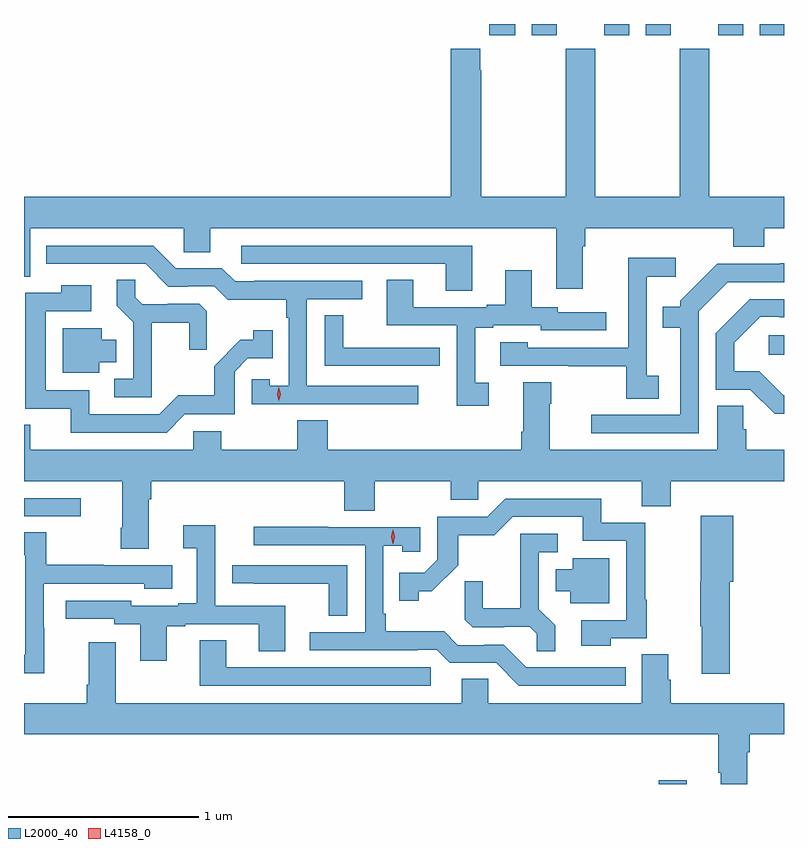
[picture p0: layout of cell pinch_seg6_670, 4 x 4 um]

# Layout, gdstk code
import gdstk
lib = gdstk.Library(unit=1e-6, precision=1e-09)
def R(c, l, rs):  # rectangles x0, y0, x1, y1
    for r in rs: c.add(gdstk.rectangle(r[:2], r[2:], *l))
def P(c, l, *ps):  # polygons
    for p in ps: c.add(gdstk.Polygon(p, *l))
L2000_40 = (2000, 40)
L4158_0 = (4158, 0)

pinch_seg6_670 = lib.new_cell('pinch_seg6_670')
R(pinch_seg6_670, L2000_40, [(492.795,929.758,492.943,929.779), (489.455,931.167,489.754,931.263), (493.374,932.018,493.455,932.121), (491.903,933.699,492.04,933.758), (492.128,933.699,492.259,933.758), (492.509,933.699,492.64,933.758), (492.728,933.699,492.859,933.758), (493.109,933.699,493.24,933.758), (493.328,933.699,493.455,933.758)])
P(pinch_seg6_670, L2000_40, [(492.397,932.588),(492.41,932.588),(492.41,932.684),(493.187,932.684),(493.187,932.585),(493.352,932.585),(493.352,932.684),(493.455,932.684),(493.455,932.848),(493.062,932.848),(493.062,933.628),(492.907,933.628),(492.907,932.848),(492.462,932.848),(492.462,933.628),(492.307,933.628),(492.307,932.848),(491.862,932.848),(491.862,933.515),(491.857,933.515),(491.857,933.628),(491.702,933.628),(491.702,932.848),(489.455,932.848),(489.455,932.428),(489.487,932.428),(489.487,932.684),(490.296,932.684),(490.296,932.557),(490.435,932.557),(490.435,932.684),(492.257,932.684),(492.257,932.364),(492.397,932.364)],
  [(491.53,931.854),(490.944,931.854),(490.944,932.31),(491.236,932.31),(491.236,932.406),(490.666,932.406),(490.666,932.403),(490.566,932.403),(490.497,932.472),(490.254,932.472),(490.134,932.592),(489.572,932.592),(489.572,932.496),(490.095,932.496),(490.215,932.376),(490.316,932.376),(490.316,932.379),(490.455,932.379),(490.528,932.306),(490.836,932.306),(490.836,932.213),(490.848,932.213),(490.848,931.855),(490.749,931.855),(490.749,931.887),(490.653,931.887),(490.653,931.758),(491.137,931.758),(491.137,931.756),(491.53,931.756)],
  [(491.815,932.592),(490.599,932.592),(490.599,932.496),(491.675,932.496),(491.675,932.353),(491.815,932.353)],
  [(492.796,931.908),(492.732,931.908),(492.732,932.429),(492.886,932.429),(492.886,932.527),(492.634,932.527),(492.634,932.288),(492.636,932.288),(492.636,932.055),(492.105,932.055),(492.105,932.083),(491.961,932.083),(491.961,931.959),(492.319,931.959),(492.319,931.957),(492.624,931.957),(492.624,931.786),(492.796,931.786)],
  [(493.005,932.247),(493.158,932.4),(493.455,932.4),(493.455,932.498),(493.435,932.498),(493.435,932.496),(493.104,932.496),(492.909,932.301),(492.909,932.269),(492.817,932.269),(492.817,932.16),(492.908,932.16),(492.908,931.701),(492.441,931.701),(492.441,931.605),(493.005,931.605)],
  [(491.902,931.869),(491.83,931.869),(491.83,932.16),(491.926,932.16),(491.926,932.172),(492.174,932.172),(492.174,932.145),(492.52,932.145),(492.52,932.241),(492.264,932.241),(492.264,932.268),(492.127,932.268),(492.127,932.461),(491.987,932.461),(491.987,932.281),(491.891,932.281),(491.891,932.268),(491.503,932.268),(491.503,932.411),(491.363,932.411),(491.363,932.172),(491.733,932.172),(491.733,931.749),(491.902,931.749)],
  [(490.127,932.186),(490.324,932.186),(490.324,932.043),(490.418,932.043),(490.418,932.245),(490.377,932.286),(490.212,932.286),(490.212,932.283),(490.078,932.283),(490.041,932.32),(490.041,932.411),(489.943,932.411),(489.943,932.275),(490.029,932.189),(490.029,931.89),(489.93,931.89),(489.93,931.794),(490.127,931.794)],
  [(490.302,931.704),(490.563,931.704),(490.563,931.929),(490.632,931.998),(490.763,931.998),(490.763,932.146),(490.662,932.146),(490.662,932.096),(490.592,932.096),(490.455,931.958),(490.455,931.803),(490.266,931.803),(490.167,931.704),(489.799,931.704),(489.799,931.83),(489.57,931.83),(489.57,932.247),(489.808,932.247),(489.808,932.383),(489.652,932.383),(489.652,932.343),(489.462,932.343),(489.462,931.734),(489.701,931.734),(489.701,931.608),(490.206,931.608)],
  [(493.455,931.803),(493.452,931.803),(493.325,931.93),(493.192,931.93),(493.192,932.08),(493.329,932.217),(493.429,932.217),(493.429,932.214),(493.455,932.214),(493.455,932.31),(493.274,932.31),(493.095,932.131),(493.095,931.833),(493.278,931.833),(493.406,931.706),(493.455,931.706)],
  [(491.644,932.054),(491.531,932.054),(491.531,932.055),(491.136,932.055),(491.136,932.225),(491.037,932.225),(491.037,931.959),(491.644,931.959)],
  [(489.85,931.979),(489.94,931.979),(489.94,932.095),(489.865,932.095),(489.865,932.158),(489.659,932.158),(489.659,931.922),(489.85,931.922)],
  [(490.111,931.256),(490.124,931.256),(490.124,931.352),(491.141,931.352),(491.141,931.195),(491.301,931.195),(491.301,931.352),(491.701,931.352),(491.701,931.254),(491.847,931.254),(491.847,931.352),(492.707,931.352),(492.707,931.219),(492.86,931.219),(492.86,931.352),(493.455,931.352),(493.455,931.516),(493.256,931.516),(493.256,931.626),(493.241,931.626),(493.241,931.748),(493.103,931.748),(493.103,931.516),(492.223,931.516),(492.223,931.76),(492.231,931.76),(492.231,931.873),(492.083,931.873),(492.083,931.612),(492.071,931.612),(492.071,931.516),(491.054,931.516),(491.054,931.673),(490.894,931.673),(490.894,931.516),(490.494,931.516),(490.494,931.614),(490.347,931.614),(490.347,931.516),(489.487,931.516),(489.487,931.649),(489.455,931.649),(489.455,931.352),(489.971,931.352),(489.971,931.108),(489.964,931.108),(489.964,930.996),(490.111,930.996)],
  [(492.543,930.525),(492.733,930.525),(492.733,930.728),(492.725,930.728),(492.725,931.134),(492.494,931.134),(492.494,931.26),(491.988,931.26),(491.892,931.164),(491.631,931.164),(491.631,930.939),(491.562,930.87),(491.431,930.87),(491.431,930.723),(491.532,930.723),(491.532,930.773),(491.602,930.773),(491.74,930.91),(491.74,931.066),(491.929,931.066),(492.027,931.164),(492.395,931.164),(492.395,931.038),(492.624,931.038),(492.624,930.621),(492.387,930.621),(492.387,930.485),(492.543,930.485)],
  [(493.169,930.822),(493.187,930.822),(493.187,931.171),(493.016,931.171),(493.016,930.822),(493.015,930.822),(493.015,930.587),(493.022,930.587),(493.022,930.339),(493.169,930.339)],
  [(490.207,930.588),(490.303,930.588),(490.303,930.6),(490.691,930.6),(490.691,930.457),(490.831,930.457),(490.831,930.696),(490.461,930.696),(490.461,931.12),(490.293,931.12),(490.293,931),(490.364,931),(490.364,930.709),(490.268,930.709),(490.268,930.696),(490.02,930.696),(490.02,930.723),(489.675,930.723),(489.675,930.627),(489.93,930.627),(489.93,930.6),(490.067,930.6),(490.067,930.408),(490.207,930.408)],
  [(492.622,930.372),(492.099,930.372),(491.979,930.492),(491.878,930.492),(491.878,930.489),(491.739,930.489),(491.666,930.562),(491.359,930.562),(491.359,930.655),(491.346,930.655),(491.346,931.013),(491.445,931.013),(491.445,930.981),(491.541,930.981),(491.541,931.11),(491.057,931.11),(491.057,931.113),(490.665,931.113),(490.665,931.014),(491.25,931.014),(491.25,930.558),(490.959,930.558),(490.959,930.462),(491.528,930.462),(491.528,930.465),(491.628,930.465),(491.697,930.396),(491.94,930.396),(492.06,930.276),(492.622,930.276)],
  [(489.561,930.581),(489.558,930.581),(489.558,930.813),(490.089,930.813),(490.089,930.785),(490.234,930.785),(490.234,930.909),(489.875,930.909),(489.875,930.912),(489.571,930.912),(489.571,931.082),(489.455,931.082),(489.455,930.961),(489.462,930.961),(489.462,930.439),(489.455,930.439),(489.455,930.341),(489.561,930.341)],
  [(492.251,930.593),(492.165,930.679),(492.165,930.978),(492.265,930.978),(492.265,931.074),(492.068,931.074),(492.068,930.682),(491.87,930.682),(491.87,930.825),(491.776,930.825),(491.776,930.623),(491.817,930.582),(491.982,930.582),(491.982,930.585),(492.116,930.585),(492.153,930.548),(492.153,930.457),(492.251,930.457)],
  [(492.535,930.946),(492.344,930.946),(492.344,930.889),(492.254,930.889),(492.254,930.773),(492.329,930.773),(492.329,930.71),(492.535,930.71)],
  [(491.157,930.909),(490.551,930.909),(490.551,930.814),(490.663,930.814),(490.663,930.813),(491.059,930.813),(491.059,930.643),(491.157,930.643)],
  [(491.596,930.372),(490.519,930.372),(490.519,930.515),(490.379,930.515),(490.379,930.276),(491.596,930.276)],
  [(493.261,929.924),(493.274,929.924),(493.274,930.02),(493.455,930.02),(493.455,930.184),(492.86,930.184),(492.86,930.306),(492.847,930.306),(492.847,930.44),(492.707,930.44),(492.707,930.184),(491.898,930.184),(491.898,930.311),(491.759,930.311),(491.759,930.184),(489.937,930.184),(489.937,930.505),(489.797,930.505),(489.797,930.28),(489.785,930.28),(489.785,930.184),(489.455,930.184),(489.455,930.02),(493.109,930.02),(493.109,929.818),(493.121,929.818),(493.121,929.758),(493.261,929.758)])
P(pinch_seg6_670, L4158_0, [(491.397,931.023),(491.397,931.023),(491.387,931.059),(491.397,931.094),(491.397,931.095),(491.398,931.094),(491.407,931.059),(491.398,931.023)],
  [(490.797,931.773),(490.797,931.774),(490.787,931.809),(490.797,931.845),(490.797,931.845),(490.797,931.845),(490.807,931.809),(490.797,931.774)])

lib.write_gds('pinch_seg6_670.gds')
